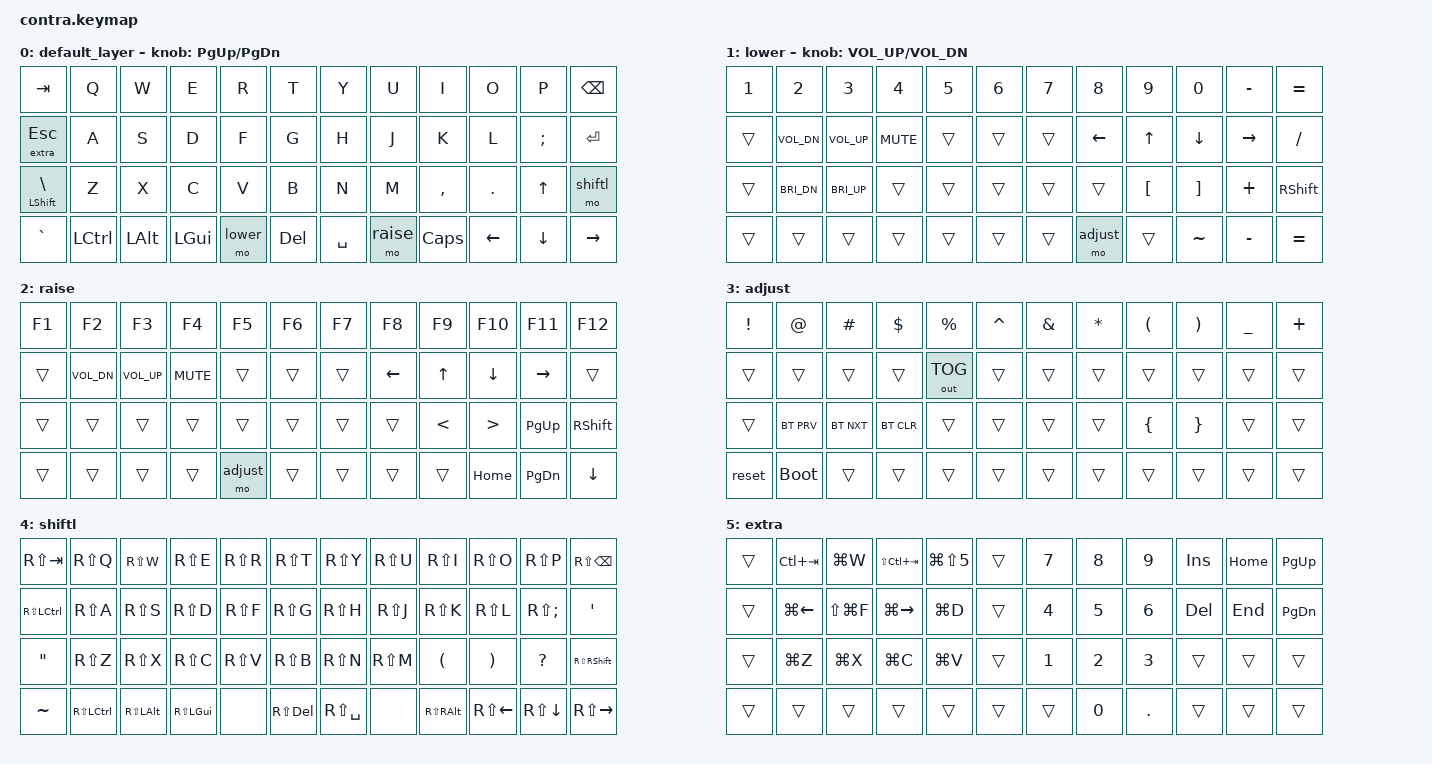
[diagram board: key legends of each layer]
/*
 * Copyright (c) 2020 The ZMK Contributors
 *
 * SPDX-License-Identifier: MIT
 */

#include <behaviors.dtsi>
#include <dt-bindings/zmk/keys.h>
#include <dt-bindings/zmk/bt.h>
#include <dt-bindings/zmk/outputs.h>


//tapping time
&mt {
    tapping-term-ms = <200>;
};

//define layers
#define DEFAULT 0
#define lower   1
#define raise   2
#define adjust 3
#define shiftl 4
#define extra   5


/ {
	keymap {
		compatible = "zmk,keymap";

		default_layer {
				// -----------------------------------------------------------------------------------------
				// |  TAB  |  Q   |  W   |  E   |  R   |  T   |   Y   |  U    |  I   |  O   |   P   | BSPC  |
				// |  ESC  |  A   |  S   |  D   |  F   |  G   |   H   |  J    |  K   |  L   |   ;   |  '    |
				// | SHIFT |  Z   |  X   |  C   |  V   |  B   |   N   |  M    |  ,   |  .   |   /   |  RET  |
				// | FN    | LGUI | LALT | LCTL | LOWR |     SPACE    |  RAIS | LARW | DARW | UARW  |  RARW |
			bindings = <
				&kp TAB        &kp Q    &kp W    &kp E     &kp R     &kp T     &kp Y     &kp U      &kp I     &kp O    &kp P    &kp BSPC
				&lt extra ESC  &kp A    &kp S    &kp D     &kp F     &kp G     &kp H     &kp J      &kp K     &kp L    &kp SEMI &kp RET
				&mt LSHFT BSLH &kp Z    &kp X    &kp C     &kp V     &kp B     &kp N     &kp M      &kp COMMA &kp DOT  &kp UP   &mo shiftl
				&kp GRAVE      &kp LCTL &kp LALT &kp LGUI  &mo lower &kp DEL   &kp SPACE &mo raise  &kp CAPS  &kp LEFT &kp DOWN &kp RIGHT
			>;

			sensor-bindings = <&inc_dec_kp PG_UP PG_DN>;
		};

		lower {
			bindings = <
				&kp N1 &kp N2       &kp N3       &kp N4     &kp N5 &kp N6 &kp N7 &kp N8      &kp N9   &kp N0    &kp MINUS &kp EQUAL 
				&trans &kp C_VOL_DN &kp C_VOL_UP &kp K_MUTE &trans &trans &trans &kp LEFT    &kp UP   &kp DOWN  &kp RIGHT &kp FSLH
                &trans &kp C_BRI_DN &kp C_BRI_UP &trans     &trans &trans &trans &trans      &kp LBKT &kp RBKT  &kp PLUS  &kp RSHFT
                &trans &trans       &trans       &trans     &trans &trans &trans &mo adjust &trans   &kp TILDE &kp MINUS &kp EQUAL
			>;

			sensor-bindings = <&inc_dec_kp C_VOL_UP C_VOL_DN>;
		};

		raise {
			bindings = <
				&kp F1 &kp F2       &kp F3       &kp F4     &kp F5      &kp F6  &kp F7 &kp F8   &kp F9   &kp F10   &kp F11   &kp F12
				&trans &kp C_VOL_DN &kp C_VOL_UP &kp K_MUTE &trans      &trans  &trans &kp LEFT &kp UP   &kp DOWN  &kp RIGHT &trans
                &trans &trans       &trans       &trans     &trans      &trans &trans  &trans   &kp LT   &kp GT    &kp PG_UP &kp RSHFT
                &trans &trans       &trans       &trans     &mo adjust &trans &trans  &trans   &trans   &kp HOME  &kp PG_DN &kp DOWN
			>;
		};
		
		adjust {
			bindings = <
				&kp EXCL &kp AT      &kp POUND  &kp DLLR   &kp PRCNT &kp CARET &kp AMPS &kp ASTRK &kp LPAR &kp RPAR &kp UNDER &kp PLUS 
				&trans   &trans      &trans     &trans     &out OUT_TOG    &trans    &trans   &trans    &trans   &trans   &trans    &trans
				&trans   &bt BT_PRV  &bt BT_NXT &bt BT_CLR &trans    &trans    &trans   &trans    &kp LBRC &kp RBRC &trans    &trans
				&reset   &bootloader &trans     &trans     &trans    &trans    &trans   &trans    &trans   &trans   &trans    &trans
			>;
		};
		
		shiftl {
			bindings = <
				&kp RS(TAB)   &kp RS(Q)    &kp RS(W)    &kp RS(E)    &kp RS(R) &kp RS(T) &kp RS(Y)     &kp RS(U)  &kp RS(I)    &kp RS(O)    &kp RS(P)    &kp RS(BSPC)
				&kp RS(LCTL)  &kp RS(A)    &kp RS(S)    &kp RS(D)    &kp RS(F) &kp RS(G) &kp RS(H)     &kp RS(J)  &kp RS(K)    &kp RS(L)    &kp RS(SEMI) &kp SQT
				&kp DQT       &kp RS(Z)    &kp RS(X)    &kp RS(C)    &kp RS(V) &kp RS(B) &kp RS(N)     &kp RS(M)  &kp LPAR    &kp RPAR     &kp QMARK    &kp RS(RSHFT)
				&kp TILDE     &kp RS(LCTL) &kp RS(LALT) &kp RS(LGUI) &none     &kp RS(DEL)   &kp RS(SPACE) &none      &kp RS(RALT) &kp RS(LEFT) &kp RS(DOWN) &kp RS(RIGHT)
			>;
		};
		
		extra {
			bindings = <
				&trans &kp LC(TAB)  &kp LG(W)     &kp LS(LC(TAB)) &kp LG(LS(N5)) &trans &kp N7 &kp N8 &kp N9  &kp INS &kp HOME &kp PG_UP
				&trans &kp LG(LEFT) &kp LS(LG(F)) &kp LG(RIGHT)   &kp LG(D)      &trans &kp N4 &kp N5 &kp N6  &kp DEL &kp END  &kp PG_DN
                &trans &kp LG(Z)    &kp LG(X)     &kp LG(C)       &kp LG(V)      &trans &kp N1 &kp N2 &kp N3  &trans  &trans   &trans
                &trans &trans       &trans        &trans          &trans         &trans &trans &kp N0 &kp DOT &trans  &trans   &trans
			>;
		};
	};
};
